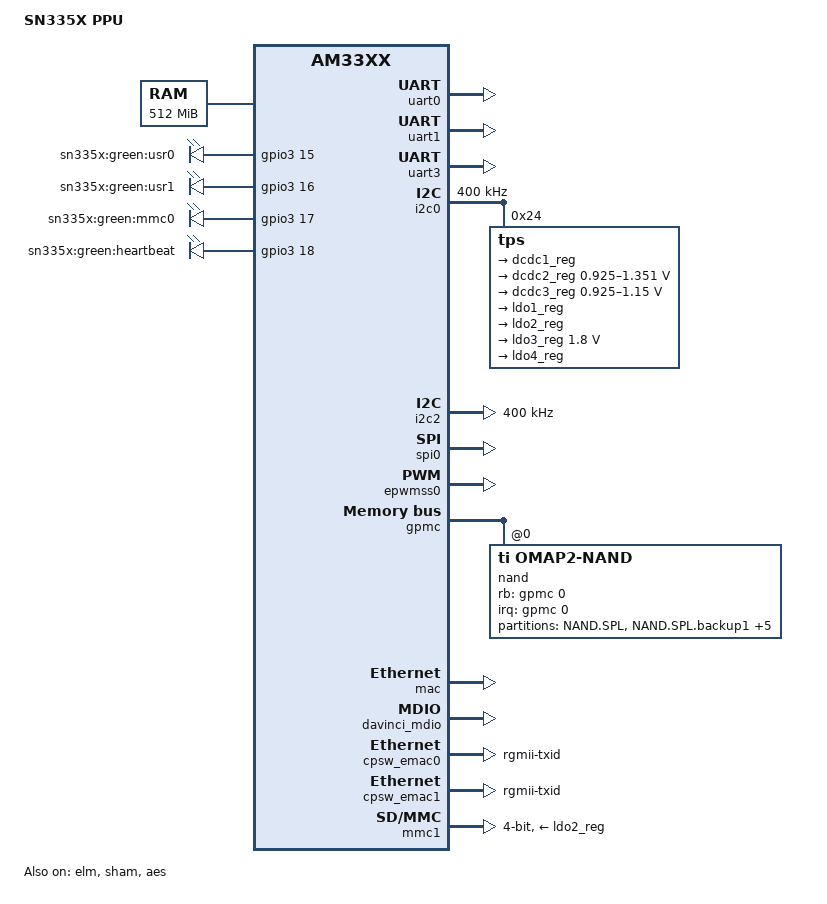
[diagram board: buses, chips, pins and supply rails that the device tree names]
/*
 * Copyright (C) 2012 Texas Instruments Incorporated - http://www.ti.com/
 *
 * This program is free software; you can redistribute it and/or modify
 * it under the terms of the GNU General Public License version 2 as
 * published by the Free Software Foundation.
 */
/dts-v1/;

#include "am33xx.dtsi"
#include <dt-bindings/interrupt-controller/irq.h>

/ {
	model = "SN335X PPU";
	compatible = "ti,am335x-evm", "ti,am33xx";

	cpus {
		cpu@0 {
			cpu0-supply = <&dcdc2_reg>;
		};
	};

	memory@80000000 {
		device_type = "memory";
		reg = <0x80000000 0x20000000>; /* 512 MB */
	};

	chosen {
		stdout-path = &uart0;
	};


	leds {
		pinctrl-names = "default";
		pinctrl-0 = <&user_leds_s0>;

		compatible = "gpio-leds";

		led@1 {
			label = "sn335x:green:usr0";
			gpios = <&gpio3 15 GPIO_ACTIVE_HIGH>;
			default-state = "on";
		};

		led@2 {
			label = "sn335x:green:usr1";
			gpios = <&gpio3 16 GPIO_ACTIVE_HIGH>;
			default-state = "on";
		};

		led@3 {
			label = "sn335x:green:mmc0";
			gpios = <&gpio3 17 GPIO_ACTIVE_HIGH>;
			linux,default-trigger = "mmc0";
			default-state = "off";
		};

		led@4 {
			label = "sn335x:green:heartbeat";
			gpios = <&gpio3 18 GPIO_ACTIVE_HIGH>;
			linux,default-trigger = "heartbeat";
			default-state = "off";
		};
	};
};

&am33xx_pinmux {
	pinctrl-names = "default";
	pinctrl-0 = <&clkout2_pin>;

	i2c0_pins: pinmux_i2c0_pins {
		pinctrl-single,pins = <
			AM33XX_IOPAD(0x988, PIN_INPUT_PULLUP | MUX_MODE0)	/* i2c0_sda.i2c0_sda */
			AM33XX_IOPAD(0x98c, PIN_INPUT_PULLUP | MUX_MODE0)	/* i2c0_scl.i2c0_scl */
		>;
	};

	i2c2_pins: pinmux_i2c2_pins {
		pinctrl-single,pins = <
			AM33XX_IOPAD(0x97c, PIN_INPUT_PULLUP | MUX_MODE3) /* (D17) uart1_rtsn.I2C2_SCL */
			AM33XX_IOPAD(0x978, PIN_INPUT_PULLUP | MUX_MODE3) /* (D18) uart1_ctsn.I2C2_SDA */
		>;
	};

	spi0_pins: pinmux_spi0_pins {
		pinctrl-single,pins = <
			AM33XX_IOPAD(0x950, PIN_INPUT_PULLUP | MUX_MODE0) /* spi0_sclk.spi0_sclk */
			AM33XX_IOPAD(0x95C, PIN_INPUT_PULLUP | MUX_MODE0) /* spi0_cs0.spi0_cs0 */
			AM33XX_IOPAD(0x954, PIN_INPUT_PULLUP | MUX_MODE0) /* spi0_d0.spi0_d0 */
			AM33XX_IOPAD(0x958, PIN_INPUT_PULLUP | MUX_MODE0) /* spi0_d1.spi0_d1 */
            AM33XX_IOPAD(0x960, PIN_INPUT_PULLUP | MUX_MODE0) /* (C15) spi0_cs1.spi0_cs1 */
		>;
	};

	uart0_pins: pinmux_uart0_pins {
		pinctrl-single,pins = <
			AM33XX_IOPAD(0x970, PIN_INPUT_PULLUP | MUX_MODE0)	/* uart0_rxd.uart0_rxd */
			AM33XX_IOPAD(0x974, PIN_OUTPUT_PULLDOWN | MUX_MODE0)	/* uart0_txd.uart0_txd */
		>;
	};

	uart1_pins: pinmux_uart1_pins {
		pinctrl-single,pins = <
			AM33XX_IOPAD(0x980, PIN_INPUT_PULLUP | MUX_MODE0)	/* uart1_rxd.uart1_rxd */
			AM33XX_IOPAD(0x984, PIN_OUTPUT_PULLDOWN | MUX_MODE0)	/* uart1_txd.uart1_txd */
		>;
	};

	user_leds_s0: user_leds_s0 {
		pinctrl-single,pins = <
			AM33XX_IOPAD(0x994, PIN_OUTPUT_PULLDOWN | MUX_MODE7)	/* mcasp0_fsx.gpio3_15 */
			AM33XX_IOPAD(0x998, PIN_OUTPUT_PULLUP | MUX_MODE7)	/* mcasp0_axr0.gpio3_16*/
			AM33XX_IOPAD(0x99C, PIN_OUTPUT_PULLDOWN | MUX_MODE7)	/* mcasp0_ahclkr.gpio3_17 */
			AM33XX_IOPAD(0x9A0, PIN_OUTPUT_PULLUP | MUX_MODE7)	/* mcasp0_aclkr.gpio3_18 */
		>;
	};

	clkout2_pin: pinmux_clkout2_pin {
		pinctrl-single,pins = <
			AM33XX_IOPAD(0x9b4, PIN_OUTPUT_PULLDOWN | MUX_MODE3)	/* xdma_event_intr1.clkout2 */
		>;
	};

	nandflash_pins_s0: nandflash_pins_s0 {
		pinctrl-single,pins = <
			AM33XX_IOPAD(0x800, PIN_INPUT_PULLUP | MUX_MODE0)	/* gpmc_ad0.gpmc_ad0 */
			AM33XX_IOPAD(0x804, PIN_INPUT_PULLUP | MUX_MODE0)	/* gpmc_ad1.gpmc_ad1 */
			AM33XX_IOPAD(0x808, PIN_INPUT_PULLUP | MUX_MODE0)	/* gpmc_ad2.gpmc_ad2 */
			AM33XX_IOPAD(0x80c, PIN_INPUT_PULLUP | MUX_MODE0)	/* gpmc_ad3.gpmc_ad3 */
			AM33XX_IOPAD(0x810, PIN_INPUT_PULLUP | MUX_MODE0)	/* gpmc_ad4.gpmc_ad4 */
			AM33XX_IOPAD(0x814, PIN_INPUT_PULLUP | MUX_MODE0)	/* gpmc_ad5.gpmc_ad5 */
			AM33XX_IOPAD(0x818, PIN_INPUT_PULLUP | MUX_MODE0)	/* gpmc_ad6.gpmc_ad6 */
			AM33XX_IOPAD(0x81c, PIN_INPUT_PULLUP | MUX_MODE0)	/* gpmc_ad7.gpmc_ad7 */
			AM33XX_IOPAD(0x870, PIN_INPUT_PULLUP | MUX_MODE0)	/* gpmc_wait0.gpmc_wait0 */
			AM33XX_IOPAD(0x874, PIN_INPUT_PULLUP | MUX_MODE7)	/* gpmc_wpn.gpio0_30 */
			AM33XX_IOPAD(0x87c, PIN_OUTPUT | MUX_MODE0)		/* gpmc_csn0.gpmc_csn0  */
			AM33XX_IOPAD(0x890, PIN_OUTPUT | MUX_MODE0)		/* gpmc_advn_ale.gpmc_advn_ale */
			AM33XX_IOPAD(0x894, PIN_OUTPUT | MUX_MODE0)		/* gpmc_oen_ren.gpmc_oen_ren */
			AM33XX_IOPAD(0x898, PIN_OUTPUT | MUX_MODE0)		/* gpmc_wen.gpmc_wen */
			AM33XX_IOPAD(0x89c, PIN_OUTPUT | MUX_MODE0)		/* gpmc_be0n_cle.gpmc_be0n_cle */
		>;
	};

	ecap0_pins: backlight_pins {
		pinctrl-single,pins = <
			AM33XX_IOPAD(0x964, MUX_MODE0)	/* eCAP0_in_PWM0_out.eCAP0_in_PWM0_out */
		>;
	};

	cpsw_default: cpsw_default {
		pinctrl-single,pins = <
			/* Slave 1 */
			AM33XX_IOPAD(0x914, PIN_OUTPUT_PULLDOWN | MUX_MODE2)	/* mii1_txen.rgmii1_tctl */
			AM33XX_IOPAD(0x918, PIN_INPUT_PULLDOWN | MUX_MODE2)	/* mii1_rxdv.rgmii1_rctl */
			AM33XX_IOPAD(0x91c, PIN_OUTPUT_PULLDOWN | MUX_MODE2)	/* mii1_txd3.rgmii1_td3 */
			AM33XX_IOPAD(0x920, PIN_OUTPUT_PULLDOWN | MUX_MODE2)	/* mii1_txd2.rgmii1_td2 */
			AM33XX_IOPAD(0x924, PIN_OUTPUT_PULLDOWN | MUX_MODE2)	/* mii1_txd1.rgmii1_td1 */
			AM33XX_IOPAD(0x928, PIN_OUTPUT_PULLDOWN | MUX_MODE2)	/* mii1_txd0.rgmii1_td0 */
			AM33XX_IOPAD(0x92c, PIN_OUTPUT_PULLDOWN | MUX_MODE2)	/* mii1_txclk.rgmii1_tclk */
			AM33XX_IOPAD(0x930, PIN_INPUT_PULLDOWN | MUX_MODE2)	/* mii1_rxclk.rgmii1_rclk */
			AM33XX_IOPAD(0x934, PIN_INPUT_PULLDOWN | MUX_MODE2)	/* mii1_rxd3.rgmii1_rd3 */
			AM33XX_IOPAD(0x938, PIN_INPUT_PULLDOWN | MUX_MODE2)	/* mii1_rxd2.rgmii1_rd2 */
			AM33XX_IOPAD(0x93c, PIN_INPUT_PULLDOWN | MUX_MODE2)	/* mii1_rxd1.rgmii1_rd1 */
			AM33XX_IOPAD(0x940, PIN_INPUT_PULLDOWN | MUX_MODE2)	/* mii1_rxd0.rgmii1_rd0 */

			/* Slave 2 */
			AM33XX_IOPAD(0x840, PIN_OUTPUT_PULLDOWN | MUX_MODE2) /* (R13) gpmc_a0.rgmii2_tctl */
			AM33XX_IOPAD(0x844, PIN_INPUT_PULLDOWN | MUX_MODE2) /* (V14) gpmc_a1.rgmii2_rctl */
			AM33XX_IOPAD(0x858, PIN_OUTPUT_PULLDOWN | MUX_MODE2) /* (U15) gpmc_a6.rgmii2_tclk */
			AM33XX_IOPAD(0x85c, PIN_INPUT_PULLDOWN | MUX_MODE2) /* (T15) gpmc_a7.rgmii2_rclk */
			AM33XX_IOPAD(0x854, PIN_OUTPUT_PULLDOWN | MUX_MODE2) /* (V15) gpmc_a5.rgmii2_td0 */
			AM33XX_IOPAD(0x850, PIN_OUTPUT_PULLDOWN | MUX_MODE2) /* (R14) gpmc_a4.rgmii2_td1 */
			AM33XX_IOPAD(0x84c, PIN_OUTPUT_PULLDOWN | MUX_MODE2) /* (T14) gpmc_a3.rgmii2_td2 */
			AM33XX_IOPAD(0x848, PIN_OUTPUT_PULLDOWN | MUX_MODE2) /* (U14) gpmc_a2.rgmii2_td3 */
			AM33XX_IOPAD(0x86c, PIN_INPUT_PULLDOWN | MUX_MODE2) /* (V17) gpmc_a11.rgmii2_rd0 */
			AM33XX_IOPAD(0x868, PIN_INPUT_PULLDOWN | MUX_MODE2) /* (T16) gpmc_a10.rgmii2_rd1 */
			AM33XX_IOPAD(0x864, PIN_INPUT_PULLDOWN | MUX_MODE2) /* (U16) gpmc_a9.rgmii2_rd2 */
			AM33XX_IOPAD(0x860, PIN_INPUT_PULLDOWN | MUX_MODE2) /* (V16) gpmc_a8.rgmii2_rd3 */
		>;
	};

	cpsw_sleep: cpsw_sleep {
		pinctrl-single,pins = <
			/* Slave 1 reset value */
			AM33XX_IOPAD(0x914, PIN_INPUT_PULLDOWN | MUX_MODE7)
			AM33XX_IOPAD(0x918, PIN_INPUT_PULLDOWN | MUX_MODE7)
			AM33XX_IOPAD(0x91c, PIN_INPUT_PULLDOWN | MUX_MODE7)
			AM33XX_IOPAD(0x920, PIN_INPUT_PULLDOWN | MUX_MODE7)
			AM33XX_IOPAD(0x924, PIN_INPUT_PULLDOWN | MUX_MODE7)
			AM33XX_IOPAD(0x928, PIN_INPUT_PULLDOWN | MUX_MODE7)
			AM33XX_IOPAD(0x92c, PIN_INPUT_PULLDOWN | MUX_MODE7)
			AM33XX_IOPAD(0x930, PIN_INPUT_PULLDOWN | MUX_MODE7)
			AM33XX_IOPAD(0x934, PIN_INPUT_PULLDOWN | MUX_MODE7)
			AM33XX_IOPAD(0x938, PIN_INPUT_PULLDOWN | MUX_MODE7)
			AM33XX_IOPAD(0x93c, PIN_INPUT_PULLDOWN | MUX_MODE7)
			AM33XX_IOPAD(0x940, PIN_INPUT_PULLDOWN | MUX_MODE7)

			/* Slave 2 reset value */
			AM33XX_IOPAD(0x840, PIN_INPUT_PULLDOWN | MUX_MODE7)
			AM33XX_IOPAD(0x844, PIN_INPUT_PULLDOWN | MUX_MODE7)
			AM33XX_IOPAD(0x858, PIN_INPUT_PULLDOWN | MUX_MODE7)
			AM33XX_IOPAD(0x85c, PIN_INPUT_PULLDOWN | MUX_MODE7)
			AM33XX_IOPAD(0x854, PIN_INPUT_PULLDOWN | MUX_MODE7)
			AM33XX_IOPAD(0x850, PIN_INPUT_PULLDOWN | MUX_MODE7)
			AM33XX_IOPAD(0x84c, PIN_INPUT_PULLDOWN | MUX_MODE7)
			AM33XX_IOPAD(0x848, PIN_INPUT_PULLDOWN | MUX_MODE7)
			AM33XX_IOPAD(0x86c, PIN_INPUT_PULLDOWN | MUX_MODE7)
			AM33XX_IOPAD(0x868, PIN_INPUT_PULLDOWN | MUX_MODE7)
			AM33XX_IOPAD(0x864, PIN_INPUT_PULLDOWN | MUX_MODE7)
			AM33XX_IOPAD(0x860, PIN_INPUT_PULLDOWN | MUX_MODE7)
		>;
	};

	davinci_mdio_default: davinci_mdio_default {
		pinctrl-single,pins = <
			/* MDIO */
			AM33XX_IOPAD(0x948, PIN_INPUT_PULLUP | SLEWCTRL_FAST | MUX_MODE0)	/* mdio_data.mdio_data */
			AM33XX_IOPAD(0x94c, PIN_OUTPUT_PULLUP | MUX_MODE0)			/* mdio_clk.mdio_clk */
		>;
	};

	davinci_mdio_sleep: davinci_mdio_sleep {
		pinctrl-single,pins = <
			/* MDIO reset value */
			AM33XX_IOPAD(0x948, PIN_INPUT_PULLDOWN | MUX_MODE7)
			AM33XX_IOPAD(0x94c, PIN_INPUT_PULLDOWN | MUX_MODE7)
		>;
	};

	mmc1_pins: pinmux_mmc1_pins {
		pinctrl-single,pins = <
			AM33XX_IOPAD(0x8fc, PIN_INPUT_PULLUP | MUX_MODE0)	/* mmc0_dat0.mmc0_dat0 */
			AM33XX_IOPAD(0x8f8, PIN_INPUT_PULLUP | MUX_MODE0)	/* mmc0_dat1.mmc0_dat1 */
			AM33XX_IOPAD(0x8f4, PIN_INPUT_PULLUP | MUX_MODE0)	/* mmc0_dat2.mmc0_dat2 */
			AM33XX_IOPAD(0x8f0, PIN_INPUT_PULLUP | MUX_MODE0)	/* mmc0_dat3.mmc0_dat3 */
			AM33XX_IOPAD(0x904, PIN_INPUT_PULLUP | MUX_MODE0)	/* mmc0_cmd.mmc0_cmd */
			AM33XX_IOPAD(0x900, PIN_INPUT_PULLUP | MUX_MODE0)	/* mmc0_clk.mmc0_clk */
		>;
	};
};

&uart0 {
	pinctrl-names = "default";
	pinctrl-0 = <&uart0_pins>;

	status = "okay";
};

&uart1 {
	pinctrl-names = "default";
	pinctrl-0 = <&uart1_pins>;

	status = "okay";
};

&uart3 {
	pinctrl-names = "default";
	pinctrl-0 = <&uart3_pins>;

	status = "okay";
};

&i2c0 {
	pinctrl-names = "default";
	pinctrl-0 = <&i2c0_pins>;

	status = "okay";
	clock-frequency = <400000>;

	tps: tps@24 {
		reg = <0x24>;
	};
};

&i2c2 {
	pinctrl-names = "default";
	pinctrl-0 = <&i2c2_pins>;

	status = "okay";
	clock-frequency = <400000>;
};

/* SPI Busses */
&spi0 {
	status = "okay";
	pinctrl-names = "default";
	pinctrl-0 = <&spi0_pins>;

	channel@0 {
		#address-cells = <1>;
		#size-cells = <0>;

		compatible = "rohm,dh2228fv";

		reg = <0>;
		spi-max-frequency = <16000000>;
		spi-cpha;
	};


	channel@1 {
		#address-cells = <1>;
		#size-cells = <0>;

		compatible = "rohm,dh2228fv";

		reg = <1>;
		spi-max-frequency = <16000000>;
	};
};

&cppi41dma  {
	status = "okay";
};

&elm {
	status = "okay";
};

&epwmss0 {
	status = "okay";

	ecap0: ecap@48300100 {
		status = "okay";
		pinctrl-names = "default";
		pinctrl-0 = <&ecap0_pins>;
	};
};

&gpmc {
	status = "okay";
	pinctrl-names = "default";
	pinctrl-0 = <&nandflash_pins_s0>;
	ranges = <0 0 0x08000000 0x1000000>;	/* CS0: 16MB for NAND */
	nand@0,0 {
		compatible = "ti,omap2-nand";
		reg = <0 0 4>; /* CS0, offset 0, IO size 4 */
		interrupt-parent = <&gpmc>;
		interrupts = <0 IRQ_TYPE_NONE>, /* fifoevent */
			     <1 IRQ_TYPE_NONE>;	/* termcount */
		rb-gpios = <&gpmc 0 GPIO_ACTIVE_HIGH>; /* gpmc_wait0 */
		ti,nand-xfer-type = "prefetch-dma";
		ti,nand-ecc-opt = "bch16";
		ti,elm-id = <&elm>;
		nand-bus-width = <8>;
		gpmc,device-width = <1>;
		gpmc,sync-clk-ps = <0>;
		gpmc,cs-on-ns = <0>;
		gpmc,cs-rd-off-ns = <44>;
		gpmc,cs-wr-off-ns = <44>;
		gpmc,adv-on-ns = <6>;
		gpmc,adv-rd-off-ns = <34>;
		gpmc,adv-wr-off-ns = <44>;
		gpmc,we-on-ns = <0>;
		gpmc,we-off-ns = <40>;
		gpmc,oe-on-ns = <0>;
		gpmc,oe-off-ns = <54>;
		gpmc,access-ns = <64>;
		gpmc,rd-cycle-ns = <82>;
		gpmc,wr-cycle-ns = <82>;
		gpmc,bus-turnaround-ns = <0>;
		gpmc,cycle2cycle-delay-ns = <0>;
		gpmc,clk-activation-ns = <0>;
		gpmc,wr-access-ns = <40>;
		gpmc,wr-data-mux-bus-ns = <0>;
		/* MTD partition table */
		/* All SPL-* partitions are sized to minimal length
		 * which can be independently programmable. For
		 * NAND flash this is equal to size of erase-block */
		#address-cells = <1>;
		#size-cells = <1>;
		partition@0 {
			label = "NAND.SPL";
			reg = <0x00000000 0x000040000>;
		};
		partition@1 {
			label = "NAND.SPL.backup1";
			reg = <0x00040000 0x00040000>;
		};
		partition@2 {
			label = "NAND.u-boot-spl-os";
			reg = <0x00080000 0x00040000>;
		};
		partition@3 {
			label = "NAND.u-boot";
			reg = <0x000C0000 0x00100000>;
		};
		partition@4 {
			label = "NAND.u-boot-env";
			reg = <0x001C0000 0x00040000>;
		};
		partition@5 {
			label = "NAND.kernel";
			reg = <0x00200000 0x00800000>;
		};
		partition@6 {
			label = "NAND.file-system";
			reg = <0x00A00000 0x0F600000>;
		};
	};
};

#include "tps65217.dtsi"

&tps {
	interrupts = <7>; /* NMI */
	interrupt-parent = <&intc>;

	charger {
		interrupts = <0>, <1>;
		interrupt-names = "USB", "AC";
		status = "okay";
	};

	pwrbutton {
		interrupts = <2>;
		status = "okay";
	};

	regulators {
		dcdc1_reg: regulator@0 {
			regulator-name = "vdds_dpr";
			regulator-always-on;
		};

		dcdc2_reg: regulator@1 {
			/* VDD_MPU voltage limits 0.95V - 1.26V with +/-4% tolerance */
			regulator-name = "vdd_mpu";
			regulator-min-microvolt = <925000>;
			regulator-max-microvolt = <1351500>;
			regulator-boot-on;
			regulator-always-on;
		};

		dcdc3_reg: regulator@2 {
			/* VDD_CORE voltage limits 0.95V - 1.1V with +/-4% tolerance */
			regulator-name = "vdd_core";
			regulator-min-microvolt = <925000>;
			regulator-max-microvolt = <1150000>;
			regulator-boot-on;
			regulator-always-on;
		};

		ldo1_reg: regulator@3 {
			regulator-name = "vio,vrtc,vdds";
			regulator-always-on;
		};

		ldo2_reg: regulator@4 {
			regulator-name = "vdd_3v3aux";
			regulator-always-on;
		};

		ldo3_reg: regulator@5 {
			regulator-name = "vdd_1v8";
			regulator-min-microvolt = <1800000>;
			regulator-max-microvolt = <1800000>;
			regulator-always-on;
		};

		ldo4_reg: regulator@6 {
			regulator-name = "vdd_3v3a";
			regulator-always-on;
		};
	};
};

&mac {
	pinctrl-names = "default", "sleep";
	pinctrl-0 = <&cpsw_default>;
	pinctrl-1 = <&cpsw_sleep>;
	dual_emac = <1>;
	status = "okay";
};

&davinci_mdio {
	pinctrl-names = "default", "sleep";
	pinctrl-0 = <&davinci_mdio_default>;
	pinctrl-1 = <&davinci_mdio_sleep>;
	bus_freq = <300000>;
	status = "okay";
};

&cpsw_emac0 {
	phy_id = <&davinci_mdio>,<0>;
	phy-mode = "rgmii-txid";
	dual_emac_res_vlan = <1>;
};

&cpsw_emac1 {
	phy_id = <&davinci_mdio>, <1>;
	phy-mode = "rgmii-txid";
	dual_emac_res_vlan = <2>;
};

&mmc1 {
	status = "okay";
	vmmc-supply = <&ldo2_reg>;
	bus-width = <4>;
	pinctrl-names = "default";
	pinctrl-0 = <&mmc1_pins>;
	ti,non-removable;
};

&sham {
	status = "okay";
};

&aes {
	status = "okay";
};

&rtc {
	status = "disabled";
	ti,hwmods = "disabled";
};

&wkup_m3_ipc {
	ti,scale-data-fw = "am335x-evm-scale-data.bin";
};
